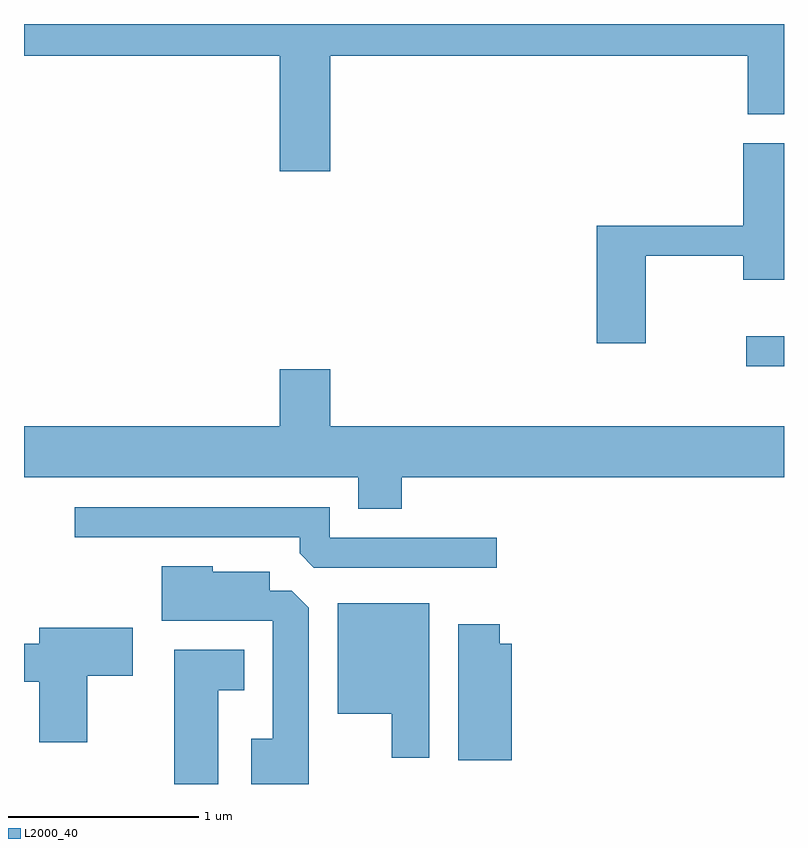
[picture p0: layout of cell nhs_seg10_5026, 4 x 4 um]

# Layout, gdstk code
import gdstk
lib = gdstk.Library(unit=1e-6, precision=1e-09)
def R(c, l, rs):  # rectangles x0, y0, x1, y1
    for r in rs: c.add(gdstk.rectangle(r[:2], r[2:], *l))
def P(c, l, *ps):  # polygons
    for p in ps: c.add(gdstk.Polygon(p, *l))
L2000_40 = (2000, 40)

nhs_seg10_5026 = lib.new_cell('nhs_seg10_5026')
R(nhs_seg10_5026, L2000_40, [(337.413,2116.721,337.611,2116.879)])
P(nhs_seg10_5026, L2000_40, [(335.224,2118.356),(337.421,2118.356),(337.421,2118.046),(337.611,2118.046),(337.611,2118.522),(333.611,2118.522),(333.611,2118.356),(334.956,2118.356),(334.956,2117.746),(335.224,2117.746)],
  [(336.884,2117.301),(337.396,2117.301),(337.396,2117.176),(337.611,2117.176),(337.611,2117.894),(337.396,2117.894),(337.396,2117.459),(336.626,2117.459),(336.626,2116.841),(336.884,2116.841)],
  [(335.599,2116.136),(337.611,2116.136),(337.611,2116.404),(335.224,2116.404),(335.224,2116.704),(334.956,2116.704),(334.956,2116.404),(333.611,2116.404),(333.611,2116.136),(335.371,2116.136),(335.371,2115.971),(335.599,2115.971)],
  [(336.098,2115.819),(335.219,2115.819),(335.219,2115.979),(333.878,2115.979),(333.878,2115.821),(335.061,2115.821),(335.061,2115.737),(335.137,2115.661),(336.098,2115.661)],
  [(335.109,2115.449),(335.019,2115.539),(334.904,2115.539),(334.904,2115.639),(334.604,2115.639),(334.604,2115.669),(334.336,2115.669),(334.336,2115.381),(334.921,2115.381),(334.921,2114.759),(334.806,2114.759),(334.806,2114.522),(335.109,2114.522)],
  [(335.744,2115.474),(335.261,2115.474),(335.261,2114.891),(335.546,2114.891),(335.546,2114.661),(335.744,2114.661)],
  [(336.179,2115.259),(336.114,2115.259),(336.114,2115.364),(335.896,2115.364),(335.896,2114.646),(336.179,2114.646)],
  [(333.944,2115.091),(334.184,2115.091),(334.184,2115.344),(333.691,2115.344),(333.691,2115.259),(333.611,2115.259),(333.611,2115.061),(333.691,2115.061),(333.691,2114.741),(333.944,2114.741)],
  [(334.634,2115.016),(334.769,2115.016),(334.769,2115.229),(334.401,2115.229),(334.401,2114.522),(334.634,2114.522)])

lib.write_gds('nhs_seg10_5026.gds')
